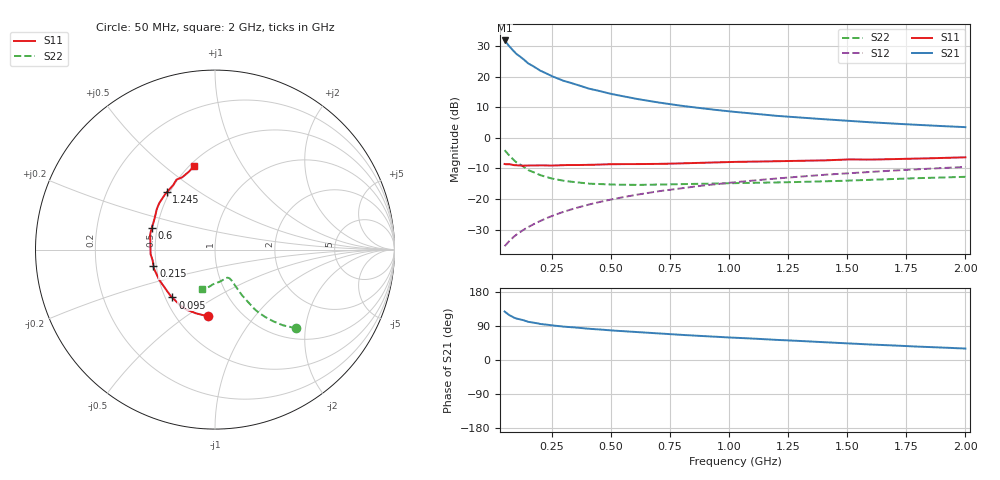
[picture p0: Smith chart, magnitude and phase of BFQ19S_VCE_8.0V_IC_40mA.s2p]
! Infineon Technologies  Discrete & RF Semiconductors
! BFQ19S
! VCE =  8.0 V,  IC =  40 mA
! Common Emitter S-Parameters:  Jan 2016
# GHz  S  MA  R  50
!  f  S11  S21  S12  S22
! GHz  MAG  ANG  MAG  ANG  MAG  ANG  MAG  ANG
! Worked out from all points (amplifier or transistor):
!   391 points, 50 MHz to 2 GHz, reference 50 ohm
!   highest |S21| = 31.9 dB at 50 MHz (marker M1)
!   |S21| within 3 dB of that: start of sweep to 82.49 MHz
!   unconditionally stable (mu >= 1): 337.8 MHz to 1.48 GHz; 1.567 GHz to 1.623 GHz
!   at 375 MHz: K = 1.01, MAG = 19.1 dB, |S12| = -22.5 dB
!   at 1.025 GHz: K = 1.03, MAG = 10.5 dB, |S12| = -14.5 dB
!   at 2 GHz: K = 0.96, MSG = 6.5 dB, |S12| = -9.5 dB
!   S11 on the Smith chart (normalised r, x): 50 MHz: 0.71, -0.61; 95 MHz: 0.54, -0.33; 215 MHz: 0.48, -0.10; 600 MHz: 0.47, +0.13; 1.245 GHz: 0.48, +0.37; 2 GHz: 0.53, +0.64
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0.05  0.3743 -95.9  39.32 127.9  0.0169 65.8  0.6303 -44.1
0.06  0.3703 -106.6  35.13 122.7  0.0186 65.2  0.5665 -48.1
0.07  0.3709 -115.7  31.51 118.4  0.0206 64.9  0.5131 -51.0
0.08  0.365 -123.1  28.49 114.8  0.0223 64.4  0.4683 -53.3
0.09  0.3584 -129.2  25.91 111.8  0.0243 65.0  0.4302 -55.1
0.095  0.3573 -131.7  24.79 110.6  0.0252 65.6  0.414 -55.7
0.1  0.357 -134.3  23.68 109.3  0.0261 66.2  0.3979 -56.4
0.15  0.3537 -151.6  16.54 100.7  0.0348 68.2  0.2977 -59.4
0.2  0.3566 -163.0  12.66 95.2  0.0435 70.4  0.2458 -60.4
0.215  0.3548 -165.1  11.92 94.2  0.0463 70.8  0.2369 -60.6
0.25  0.3524 -170.0  10.21 91.2  0.0527 71.5  0.216 -61.1
0.3  0.3598 -176.0  8.58 88.0  0.0617 71.7  0.1982 -61.5
0.375  0.3601 176.9  7.011 84.3  0.0754 71.7  0.1835 -62.7
0.4  0.3615 174.5  6.497 82.7  0.0799 71.7  0.1786 -63.2
0.5  0.3715 166.6  5.249 78.1  0.098 71.2  0.1721 -65.5
0.6  0.3728 161.0  4.398 74.0  0.1157 70.0  0.1698 -68.6
0.7  0.3749 155.6  3.802 70.1  0.1334 68.8  0.172 -72.0
1.03  0.405 139.3  2.65 58.6  0.1889 64.0  0.1819 -83.1
1.245  0.4172 130.1  2.232 51.9  0.2236 60.6  0.1881 -89.4
1.35  0.4238 125.2  2.088 48.7  0.2404 59.0  0.1918 -92.3
1.675  0.447 112.3  1.734 38.9  0.2892 53.6  0.2113 -99.7
2  0.4813 103.9  1.499 30.2  0.3346 48.6  0.2306 -108.3
